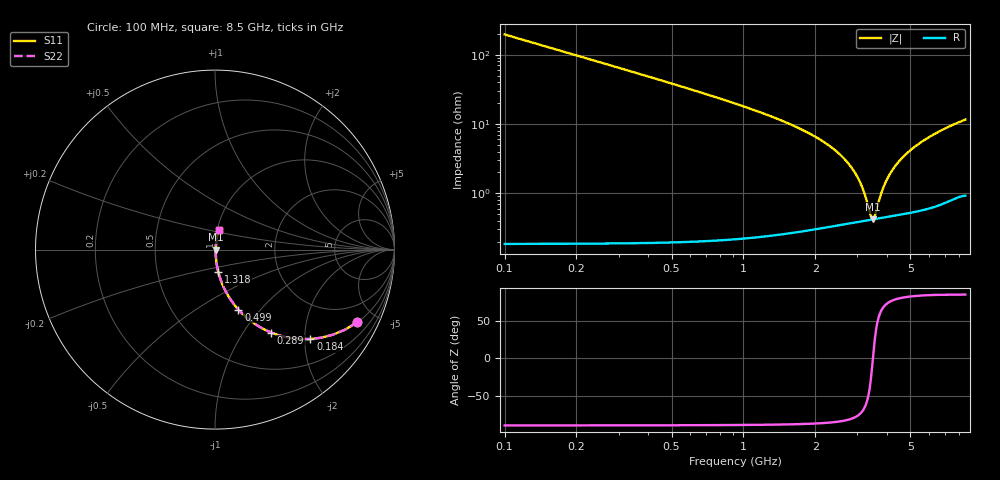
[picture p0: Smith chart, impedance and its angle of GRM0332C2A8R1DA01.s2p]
!Murata Part Number: GRM0332C2A8R1DA01
!These Parameters are Measured in Series Mode Connection
!Data Generated on Mar 30, 2021
!  o--ll--o
!Port1  Port2
!  o------o
!Operation Temp=25[degC], DC Bias Voltage=0[V]
!Freq. Start=100[MHz] Stop=9[GHz] 401[Steps]
# Hz S RI R 50
!Freq.(Hz) S11(Real) S11(Imag) S21(Real) S21(Imag) S12(Real) S12(Imag) S22(Real) S22(Imag)
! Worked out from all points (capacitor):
!   401 points, 100 MHz to 8.5 GHz, reference 50 ohm
!   read as one part in series: C = 8.1 pF near 142 MHz
!   lowest |Z| = 420 mohm at 3.481 GHz (marker M1)
!   series resonance near 3.485 GHz, so ESL is about 260 pH
!   S11 on the Smith chart (normalised r, x): 100 MHz: 1.00, -3.93; 184 MHz: 1.00, -2.13; 289 MHz: 1.00, -1.35; 499 MHz: 1.00, -0.77; 1.318 GHz: 1.00, -0.25; 8.5 GHz: 1.02, +0.23
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1e8  0.7938 -0.4041  0.2062 0.4041  0.2062 0.4041  0.7938 -0.4041
1.84e8  0.5313 -0.4981  0.4687 0.4981  0.4687 0.4981  0.5313 -0.4981
2.89e8  0.3135 -0.4625  0.6865 0.4625  0.6865 0.4625  0.3135 -0.4625
3.73e8  0.2141 -0.4083  0.7859 0.4083  0.7859 0.4083  0.2141 -0.4083
4.99e8  0.1306 -0.3345  0.8694 0.3345  0.8694 0.3345  0.1306 -0.3345
8.35e8  0.0486 -0.2102  0.9514 0.2102  0.9514 0.2102  0.0486 -0.2102
1.318e9  0.0183 -0.1247  0.9817 0.1247  0.9817 0.1247  0.0183 -0.1247
1.507e9  0.0135 -0.1038  0.9865 0.1038  0.9865 0.1038  0.0135 -0.1038
2.41e9  0.00511 -0.0418  0.9949 0.0418  0.9949 0.0418  0.00511 -0.0418
2.914e9  0.00416 -0.0199  0.9958 0.0199  0.9958 0.0199  0.00416 -0.0199
3.145e9  0.00407 -0.0114  0.9959 0.0114  0.9959 0.0114  0.00407 -0.0114
3.418e9  0.00414 -0.00215  0.9959 0.00215  0.9959 0.00215  0.00414 -0.00215
3.481e9  0.00418 -0.000125  0.9958 0.000125  0.9958 0.000125  0.00418 -0.000125
3.544e9  0.00423 0.00186  0.9958 -0.00186  0.9958 -0.00186  0.00423 0.00186
3.733e9  0.00441 0.00763  0.9956 -0.00763  0.9956 -0.00763  0.00441 0.00763
3.88e9  0.0046 0.0119  0.9954 -0.0119  0.9954 -0.0119  0.0046 0.0119
4.069e9  0.00488 0.0172  0.9951 -0.0172  0.9951 -0.0172  0.00488 0.0172
4.3e9  0.00528 0.0235  0.9947 -0.0235  0.9947 -0.0235  0.00528 0.0235
4.888e9  0.00659 0.0383  0.9934 -0.0383  0.9934 -0.0383  0.00659 0.0383
5.707e9  0.00902 0.0571  0.991 -0.0571  0.991 -0.0571  0.00902 0.0571
7.114e9  0.015 0.0865  0.985 -0.0865  0.985 -0.0865  0.015 0.0865
8.5e9  0.0219 0.1119  0.9781 -0.1119  0.9781 -0.1119  0.0219 0.1119
